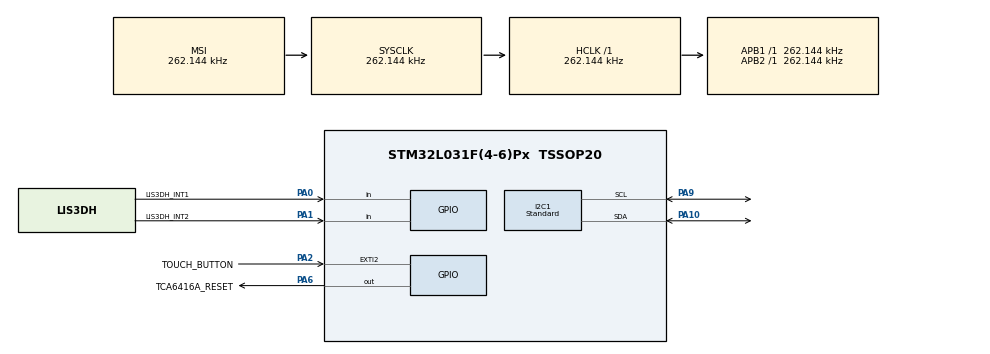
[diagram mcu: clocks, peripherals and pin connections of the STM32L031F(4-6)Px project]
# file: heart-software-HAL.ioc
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I2C1.I2C_Fall_Time=0
I2C1.I2C_Rise_Time=0
I2C1.I2C_Speed_Mode=I2C_Standard
I2C1.Speed=10
I2C1.Timing=0x00000014
Mcu.Family=STM32L0
Mcu.Name=STM32L031F(4-6)Px
Mcu.Package=TSSOP20
NVIC.EXTI2_3_IRQn=true\:0\:0\:false\:false\:true\:true\:true\:true
NVIC.PVD_IRQn=true\:0\:0\:false\:true\:true\:1\:true\:true\:true
NVIC.RTC_IRQn=true\:0\:0\:false\:false\:true\:true\:true\:true
PA0-CK_IN.GPIO_Label=LIS3DH_INT1
PA0-CK_IN.Signal=GPIO_Input
PA1.GPIO_Label=LIS3DH_INT2
PA1.Signal=GPIO_Input
PA10.GPIO_Pu=GPIO_PULLUP
PA10.Mode=I2C
PA10.Signal=I2C1_SDA
PA13.Mode=Serial_Wire
PA13.Signal=SYS_SWDIO
PA14.Mode=Serial_Wire
PA14.Signal=SYS_SWCLK
PA2.GPIO_Label=TOUCH_BUTTON
PA2.GPIO_ModeDefaultEXTI=GPIO_MODE_IT_RISING_FALLING
PA2.Signal=GPXTI2
PA6.GPIO_Label=TCA6416A_RESET
PA6.Signal=GPIO_Output
PA9.GPIO_Pu=GPIO_PULLUP
PA9.Mode=I2C
PA9.Signal=I2C1_SCL
ProjectManager.HeapSize=0x200
ProjectManager.StackSize=0x400
ProjectManager.TargetToolchain=MDK-ARM V5.27
RCC.ADCFreq_Value=16000000
RCC.AHBFreq_Value=262144
RCC.APB1Freq_Value=262144
RCC.APB1TimFreq_Value=262144
RCC.APB2Freq_Value=262144
RCC.APB2TimFreq_Value=262144
RCC.HCLKFreq_Value=262144
RCC.HSE_VALUE=8000000
RCC.HSI16_VALUE=16000000
RCC.HSI_VALUE=16000000
RCC.LSE_VALUE=32768
RCC.LptimClockSelection=RCC_LPTIM1CLKSOURCE_LSI
RCC.MSIClockRange=RCC_MSIRANGE_2
RCC.MSI_VALUE=262144
RCC.PLLDIV=RCC_PLLDIV_3
RCC.SYSCLKFreq_VALUE=262144
RCC.VCOOutputFreq_Value=48000000
RTC.WakeUpClock-WakeUp=RTC_WAKEUPCLOCK_RTCCLK_DIV16
RTC.WakeUpCounter-WakeUp=0
SYS.Mode=PWR_PVD_MODE_EVENT_RISING
SYS.PVDLevel=PWR_PVDLEVEL_2
VP_RTC_VS_RTC_Activate.Mode=RTC_Enabled
VP_RTC_VS_RTC_WakeUp_intern.Mode=WakeUp
VP_SYS_V_PVD_IN.Mode=Mode_PVD_Int
board=custom

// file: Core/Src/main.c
/* USER CODE BEGIN Header */
/**
  ******************************************************************************
  * @file           : main.c
  * @brief          : Main program body
  ******************************************************************************
  * @attention
  *
  * <h2><center>&copy; Copyright (c) 2022 STMicroelectronics.
  * All rights reserved.</center></h2>
  *
  * This software component is licensed by ST under BSD 3-Clause license,
  * the "License"; You may not use this file except in compliance with the
  * License. You may obtain a copy of the License at:
  *                        opensource.org/licenses/BSD-3-Clause
  *
  ******************************************************************************
  */
/* USER CODE END Header */
#include "main.h"
#include "i2c.h"
#include "rtc.h"
#include "gpio.h"

/* USER CODE BEGIN Includes */
#include "state_machine.h"

#include "stdbool.h"

#include <stdio.h>
#include <stdlib.h>
#include <string.h>
/* USER CODE END Includes */

/* USER CODE BEGIN PV */
	bool button_is_pressed = false;
	bool button_was_pressed = false;
	uint32_t button_pressed_time_tmp = 0;
	uint32_t button_pressed_time = 0;

	uint32_t previous_tick;

	eHEART_STATE state_machine_current_state;

/* USER CODE END PV */

void SystemClock_Config(void);
static void MX_NVIC_Init(void);

int main(void)
{
  /* USER CODE BEGIN 1 */
	State_Machine_Set_Next_State(&state_machine_current_state, STATE_INITIALIZATION);

  /* USER CODE END 1 */

  /* MCU Configuration--------------------------------------------------------*/

  /* Reset of all peripherals, Initializes the Flash interface and the Systick. */
  HAL_Init();

  /* Configure the system clock */
  SystemClock_Config();

  /* Initialize all configured peripherals */
  MX_GPIO_Init();
  MX_I2C1_Init();
  MX_RTC_Init();

  /* Initialize interrupts */
  MX_NVIC_Init();
  /* USER CODE BEGIN 2 */
	PWR_PVDTypeDef PVD_Configuration;

  __HAL_RCC_PWR_CLK_ENABLE();
  HAL_NVIC_SetPriority(PVD_IRQn, 0, 0);
  HAL_NVIC_EnableIRQ(PVD_IRQn);

  PVD_Configuration.PVDLevel = PWR_PVDLEVEL_2;
  PVD_Configuration.Mode = PWR_PVD_MODE_IT_RISING;

  HAL_PWR_ConfigPVD(&PVD_Configuration);
	HAL_PWR_EnablePVD();

	previous_tick = HAL_GetTick();
  /* USER CODE END 2 */

  /* Infinite loop */
  while (1)
  {

    /* USER CODE BEGIN 3 */

		if( (HAL_GetTick() - previous_tick) >= 10)	// 10 ms loop
		{
			State_Machine_Update(&state_machine_current_state);
			previous_tick = HAL_GetTick();
		}

  }
  /* USER CODE END 3 */
}

void SystemClock_Config(void)
{
  RCC_OscInitTypeDef RCC_OscInitStruct = {0};
  RCC_ClkInitTypeDef RCC_ClkInitStruct = {0};
  RCC_PeriphCLKInitTypeDef PeriphClkInit = {0};

  /** Configure the main internal regulator output voltage
  */
  __HAL_PWR_VOLTAGESCALING_CONFIG(PWR_REGULATOR_VOLTAGE_SCALE1);

  /** Initializes the RCC Oscillators according to the specified parameters
  * in the RCC_OscInitTypeDef structure.
  */
  RCC_OscInitStruct.OscillatorType = RCC_OSCILLATORTYPE_LSI|RCC_OSCILLATORTYPE_MSI;
  RCC_OscInitStruct.LSIState = RCC_LSI_ON;
  RCC_OscInitStruct.MSIState = RCC_MSI_ON;
  RCC_OscInitStruct.MSICalibrationValue = 0;
  RCC_OscInitStruct.MSIClockRange = RCC_MSIRANGE_2;
  RCC_OscInitStruct.PLL.PLLState = RCC_PLL_NONE;
  if (HAL_RCC_OscConfig(&RCC_OscInitStruct) != HAL_OK)
  {
    Error_Handler();
  }

  /** Initializes the CPU, AHB and APB buses clocks
  */
  RCC_ClkInitStruct.ClockType = RCC_CLOCKTYPE_HCLK|RCC_CLOCKTYPE_SYSCLK
                              |RCC_CLOCKTYPE_PCLK1|RCC_CLOCKTYPE_PCLK2;
  RCC_ClkInitStruct.SYSCLKSource = RCC_SYSCLKSOURCE_MSI;
  RCC_ClkInitStruct.AHBCLKDivider = RCC_SYSCLK_DIV1;
  RCC_ClkInitStruct.APB1CLKDivider = RCC_HCLK_DIV1;
  RCC_ClkInitStruct.APB2CLKDivider = RCC_HCLK_DIV1;

  if (HAL_RCC_ClockConfig(&RCC_ClkInitStruct, FLASH_LATENCY_0) != HAL_OK)
  {
    Error_Handler();
  }
  PeriphClkInit.PeriphClockSelection = RCC_PERIPHCLK_I2C1|RCC_PERIPHCLK_RTC;
  PeriphClkInit.I2c1ClockSelection = RCC_I2C1CLKSOURCE_PCLK1;
  PeriphClkInit.RTCClockSelection = RCC_RTCCLKSOURCE_LSI;
  if (HAL_RCCEx_PeriphCLKConfig(&PeriphClkInit) != HAL_OK)
  {
    Error_Handler();
  }
}

/**
  * @brief NVIC Configuration.
  * @retval None
  */
static void MX_NVIC_Init(void)
{
  /* PVD_IRQn interrupt configuration */
  HAL_NVIC_SetPriority(PVD_IRQn, 0, 0);
  HAL_NVIC_EnableIRQ(PVD_IRQn);
}

/* USER CODE BEGIN 4 */

void HAL_GPIO_EXTI_Callback(uint16_t GPIO_Pin){ //interrupt handler

	if(GPIO_Pin == GPIO_PIN_2)
	{ //check interrupt for specific pin
    if(!HAL_GPIO_ReadPin(GPIOA, GPIO_PIN_2) && !button_was_pressed)
		{
			button_is_pressed = true;
      button_pressed_time_tmp = HAL_GetTick();
    }
		if(HAL_GPIO_ReadPin(GPIOA, GPIO_PIN_2) && !button_was_pressed)
		{
      button_pressed_time = HAL_GetTick() - button_pressed_time_tmp;
			button_is_pressed = false;
			button_was_pressed = true;
    }
  }
}

/* USER CODE END 4 */

void Error_Handler(void)
{
  __disable_irq();
  while (1)
  {
  }
}
